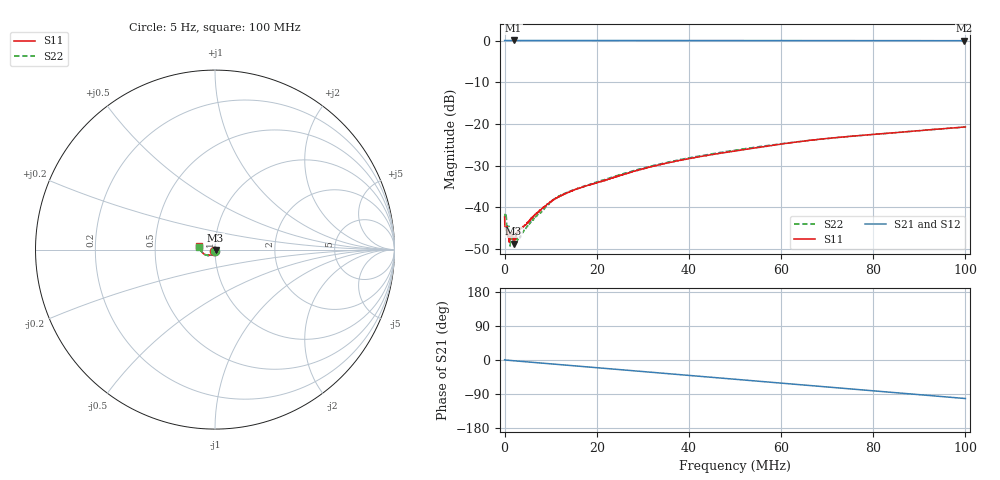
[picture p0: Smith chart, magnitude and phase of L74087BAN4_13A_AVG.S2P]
!Agilent Technologies,E5061B,MY49102235,A.02.00
!Date: Tue Jul 11 16:20:33 2023
!Data & Calibration Information:
!Freq	S11:SOLT2(ON)	S21:SOLT2(ON)	S12:SOLT2(ON)	S22:SOLT2(ON)
# Hz S RI R 50
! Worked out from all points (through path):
!   1600 points, 5 Hz to 100 MHz, reference 50 ohm
!   highest |S21| = 0.02 dB at 1.939 MHz (marker M1); lowest = 0.0 dB at 99.75 MHz (marker M2)
!   group delay of S21, straight-line fit = 2.82 ns
!   lowest |S11| = -48.7 dB at 1.939 MHz (marker M3), VSWR 1.01, Z = 50.3 - j0.189 ohm
!   |S11| at or under -10 dB: start of sweep to end of sweep
!   |S22| runs from -49.3 to -20.8 dB; largest |S21 - S12| = 0.0026
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5  -0.00512 -0.00565  1.002 0.00802  1 0.0102  -0.00138 -0.00755
437778.6  0.00514 -0.0005  1.001 -0.00533  1.001 -0.00628  0.0066 -0.00214
625395.8  0.0051 -0.000502  1.002 -0.0105  1.002 -0.0101  0.00613 -0.000879
938091.3  0.00432 -0.000203  1.001 -0.0151  1.001 -0.0148  0.00589 -0.000774
1500943  0.00435 -0.00217  1.001 -0.025  1.002 -0.0252  0.00305 -0.00334
1938717  0.00313 -0.00188  1.002 -0.0338  1.001 -0.0337  0.00344 -0.00164
2376490  0.00333 -0.00244  0.9998 -0.0417  1 -0.0421  0.00397 -0.00212
3252037  0.00428 -0.00345  0.9993 -0.0574  0.9992 -0.0573  0.00319 -0.00295
6003757  0.00347 -0.00651  0.9952 -0.106  0.9954 -0.1059  0.003 -0.00632
9631024  0.00179 -0.0111  0.9865 -0.17  0.9863 -0.1699  0.0011 -0.0111
1.156974e7  0.000516 -0.0133  0.9801 -0.2037  0.9799 -0.2036  -0.000428 -0.0134
1.669794e7  -0.00277 -0.0171  0.9569 -0.292  0.9569 -0.2917  -0.00323 -0.0172
2.582865e7  -0.00859 -0.0231  0.8976 -0.4425  0.8974 -0.4424  -0.00662 -0.0245
3.333334e7  -0.0158 -0.0279  0.8304 -0.5577  0.8304 -0.5575  -0.0146 -0.0292
4.033771e7  -0.0233 -0.0309  0.7546 -0.6561  0.7546 -0.6559  -0.0232 -0.032
5.003127e7  -0.0347 -0.032  0.631 -0.7756  0.6309 -0.7754  -0.0352 -0.0331
6.672921e7  -0.0584 -0.0264  0.3765 -0.925  0.3767 -0.9251  -0.0578 -0.0269
7.53596e7  -0.0689 -0.0184  0.231 -0.971  0.2311 -0.971  -0.0684 -0.0193
8.33646e7  -0.077 -0.00801  0.0913 -0.9936  0.0912 -0.9938  -0.0767 -0.00983
9.155722e7  -0.0843 0.0044  -0.0537 -0.9956  -0.0537 -0.9957  -0.0845 0.00147
9.974984e7  -0.09 0.018  -0.1972 -0.9765  -0.1971 -0.9768  -0.0898 0.0154
1e8  -0.0901 0.0184  -0.2015 -0.9758  -0.2015 -0.976  -0.0902 0.016
